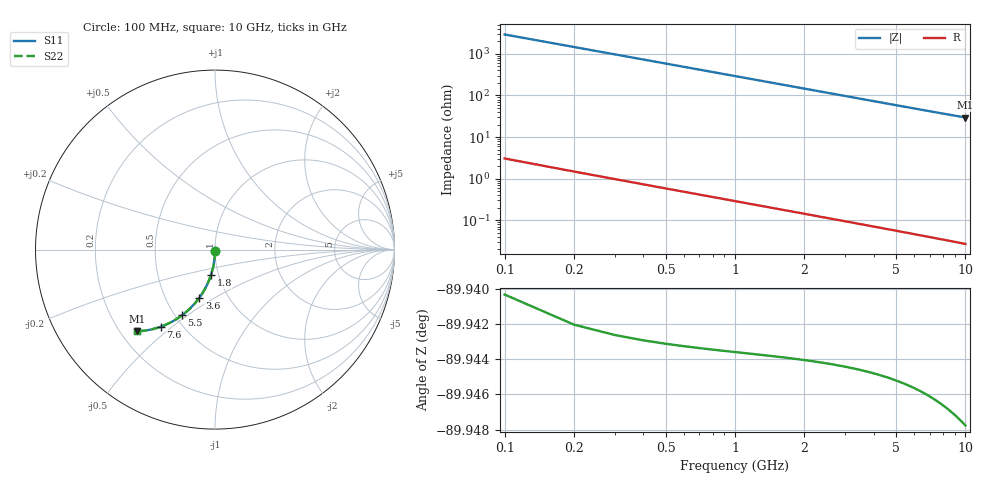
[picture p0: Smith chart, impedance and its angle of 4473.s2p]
# Hz S RI R 50.00
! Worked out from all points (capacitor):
!   100 points, 100 MHz to 10 GHz, reference 50 ohm
!   read as one part in shunt: C = 542 fF near 100 MHz
!   lowest |Z| = 29.5 ohm at 10 GHz (marker M1)
!   S11 on the Smith chart (normalised r, x): 100 MHz: 1.00, -0.02; 1.8 GHz: 0.92, -0.27; 3.6 GHz: 0.73, -0.43; 5.5 GHz: 0.54, -0.48; 7.6 GHz: 0.38, -0.46; 10 GHz: 0.27, -0.40
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1e8  -3.64e-06 -0.00814  0.9998 -0.0089  0.9998 -0.0089  -3.64e-06 -0.00814
2e8  -0.000229 -0.0163  0.9996 -0.0178  0.9996 -0.0178  -0.000229 -0.0163
3e8  -0.000599 -0.0244  0.9992 -0.0267  0.9992 -0.0267  -0.000599 -0.0244
4e8  -0.00111 -0.0325  0.9987 -0.0356  0.9987 -0.0356  -0.00111 -0.0325
5e8  -0.00177 -0.0406  0.9981 -0.0444  0.9981 -0.0444  -0.00177 -0.0406
6e8  -0.00257 -0.0487  0.9973 -0.0533  0.9973 -0.0533  -0.00257 -0.0487
8e8  -0.00461 -0.0648  0.9952 -0.0709  0.9952 -0.0709  -0.00461 -0.0648
1.1e9  -0.00872 -0.0888  0.9911 -0.0972  0.9911 -0.0972  -0.00872 -0.0888
1.4e9  -0.0141 -0.1124  0.9857 -0.1231  0.9857 -0.1231  -0.0141 -0.1124
1.8e9  -0.0231 -0.1432  0.9766 -0.157  0.9766 -0.157  -0.0231 -0.1432
2.1e9  -0.0312 -0.1658  0.9685 -0.1819  0.9685 -0.1819  -0.0312 -0.1658
2.5e9  -0.0438 -0.1948  0.9559 -0.2141  0.9559 -0.2141  -0.0438 -0.1948
2.9e9  -0.0581 -0.2227  0.9415 -0.245  0.9415 -0.245  -0.0581 -0.2227
3.4e9  -0.0783 -0.2555  0.9212 -0.2817  0.9212 -0.2817  -0.0783 -0.2555
3.6e9  -0.0871 -0.268  0.9124 -0.2957  0.9124 -0.2957  -0.0871 -0.268
4.3e9  -0.1202 -0.3084  0.8791 -0.3417  0.8791 -0.3417  -0.1202 -0.3084
5.1e9  -0.1617 -0.3483  0.8373 -0.3879  0.8373 -0.3879  -0.1617 -0.3483
5.5e9  -0.1836 -0.3657  0.8153 -0.4085  0.8153 -0.4085  -0.1836 -0.3657
6.7e9  -0.2515 -0.4076  0.747 -0.46  0.747 -0.46  -0.2515 -0.4076
7.6e9  -0.3028 -0.4295  0.6952 -0.4893  0.6952 -0.4893  -0.3028 -0.4295
8.4e9  -0.3477 -0.4429  0.6499 -0.5093  0.6499 -0.5093  -0.3477 -0.4429
1e10  -0.4325 -0.4553  0.5641 -0.535  0.5641 -0.535  -0.4325 -0.4553
